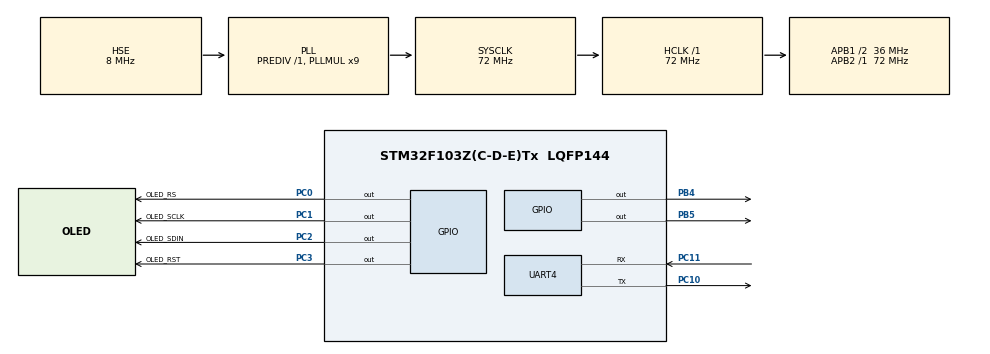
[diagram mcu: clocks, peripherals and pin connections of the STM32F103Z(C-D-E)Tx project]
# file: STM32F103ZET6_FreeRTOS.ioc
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FREERTOS.Queues01=Uart_Queue,10,uint8_t,0,Dynamic,NULL,NULL
FREERTOS.Tasks01=defaultTask,24,128,StartDefaultTask,As weak,NULL,Dynamic,NULL,NULL;LedTask,24,128,LedTaskDeal,Default,NULL,Dynamic,NULL,NULL;UartTask,40,128,UartTaskDeal,Default,NULL,Dynamic,NULL,NULL;OLEDTask,24,128,OLEDTaskDeal,Default,NULL,Dynamic,NULL,NULL
Mcu.Family=STM32F1
Mcu.Name=STM32F103Z(C-D-E)Tx
Mcu.Package=LQFP144
NVIC.PriorityGroup=NVIC_PRIORITYGROUP_4
NVIC.TIM6_IRQn=true\:0\:0\:true\:false\:true\:false\:false\:true\:true
NVIC.TimeBase=TIM6_IRQn
NVIC.TimeBaseIP=TIM6
NVIC.UART4_IRQn=true\:5\:0\:false\:false\:true\:true\:true\:true\:true
OSC_IN.Mode=HSE-External-Oscillator
OSC_IN.Signal=RCC_OSC_IN
OSC_OUT.Mode=HSE-External-Oscillator
OSC_OUT.Signal=RCC_OSC_OUT
PA13.Mode=Serial_Wire
PA13.Signal=SYS_JTMS-SWDIO
PA14.Mode=Serial_Wire
PA14.Signal=SYS_JTCK-SWCLK
PB4.Signal=GPIO_Output
PB5.Signal=GPIO_Output
PC0.GPIO_Label=OLED_RS
PC0.Signal=GPIO_Output
PC1.GPIO_Label=OLED_SCLK
PC1.Signal=GPIO_Output
PC10.Mode=Asynchronous
PC10.Signal=UART4_TX
PC11.Mode=Asynchronous
PC11.Signal=UART4_RX
PC2.GPIO_Label=OLED_SDIN
PC2.Signal=GPIO_Output
PC3.GPIO_Label=OLED_RST
PC3.Signal=GPIO_Output
ProjectManager.HeapSize=0x200
ProjectManager.StackSize=0x400
ProjectManager.TargetToolchain=STM32CubeIDE
RCC.AHBFreq_Value=72000000
RCC.APB1CLKDivider=RCC_HCLK_DIV2
RCC.APB1Freq_Value=36000000
RCC.APB1TimFreq_Value=72000000
RCC.APB2Freq_Value=72000000
RCC.APB2TimFreq_Value=72000000
RCC.HCLKFreq_Value=72000000
RCC.PLLMUL=RCC_PLL_MUL9
RCC.PLLSourceVirtual=RCC_PLLSOURCE_HSE
RCC.SYSCLKFreq_VALUE=72000000
RCC.SYSCLKSource=RCC_SYSCLKSOURCE_PLLCLK
RCC.USBFreq_Value=72000000
UART4.VirtualMode=Asynchronous
VP_FREERTOS_VS_CMSIS_V2.Mode=CMSIS_V2
VP_SYS_VS_tim6.Mode=TIM6
board=custom

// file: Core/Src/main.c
/* USER CODE BEGIN Header */
/**
  ******************************************************************************
  * @file           : main.c
  * @brief          : Main program body
  ******************************************************************************
  * @attention
  *
  * Copyright (c) 2025 STMicroelectronics.
  * All rights reserved.
  *
  * This software is licensed under terms that can be found in the LICENSE file
  * in the root directory of this software component.
  * If no LICENSE file comes with this software, it is provided AS-IS.
  *
  ******************************************************************************
  */
/* USER CODE END Header */
#include "main.h"
#include "cmsis_os.h"

/* USER CODE BEGIN Includes */
#include "oled.h"
#include "queue.h"
//#include "oledfont.h"
/* USER CODE END Includes */

UART_HandleTypeDef huart4;

/* Definitions for defaultTask */
osThreadId_t defaultTaskHandle;
const osThreadAttr_t defaultTask_attributes = {
  .name = "defaultTask",
  .stack_size = 128 * 4,
  .priority = (osPriority_t) osPriorityNormal,
};
/* Definitions for LedTask */
osThreadId_t LedTaskHandle;
const osThreadAttr_t LedTask_attributes = {
  .name = "LedTask",
  .stack_size = 128 * 4,
  .priority = (osPriority_t) osPriorityNormal,
};
/* Definitions for UartTask */
osThreadId_t UartTaskHandle;
const osThreadAttr_t UartTask_attributes = {
  .name = "UartTask",
  .stack_size = 128 * 4,
  .priority = (osPriority_t) osPriorityHigh,
};
/* Definitions for OLEDTask */
osThreadId_t OLEDTaskHandle;
const osThreadAttr_t OLEDTask_attributes = {
  .name = "OLEDTask",
  .stack_size = 128 * 4,
  .priority = (osPriority_t) osPriorityNormal,
};
/* Definitions for Uart_Queue */
osMessageQueueId_t Uart_QueueHandle;
const osMessageQueueAttr_t Uart_Queue_attributes = {
  .name = "Uart_Queue"
};

void SystemClock_Config(void);
static void MX_GPIO_Init(void);
static void MX_UART4_Init(void);
void StartDefaultTask(void *argument);
void LedTaskDeal(void *argument);
void UartTaskDeal(void *argument);
void OLEDTaskDeal(void *argument);

/* USER CODE BEGIN PFP */
int cnt1 = 0;
/* USER CODE END PFP */

/* USER CODE BEGIN 0 */
//PB5红灯交替闪烁
void user_test_led(void){
	//HAL_Delay(1000);
//	if(HAL_GPIO_ReadPin(GPIOE,GPIO_PIN_3)==GPIO_PIN_RESET){
		if(cnt1 == 1){
			cnt1 = 0;
			HAL_GPIO_WritePin(GPIOB, GPIO_PIN_5, 0);
			//HAL_GPIO_WritePin(GPIOE, GPIO_PIN_5, GPIO_PIN_SET);
		}else{
			cnt1++;
			HAL_GPIO_WritePin(GPIOB, GPIO_PIN_5, 1);
//			HAL_GPIO_WritePin(GPIOE, GPIO_PIN_5, GPIO_PIN_RESET);
		}
//	}
}

uint8_t user_cam[10];
//void HAL_UART_RxCpltCallback(UART_HandleTypeDef *huart){
//	HAL_UART_Transmit_IT(&huart4, user_cam, 2);
//	HAL_UART_Receive_IT(&huart4, user_cam, 2);
//}

//*串口中断
void HAL_UARTEx_RxEventCallback(UART_HandleTypeDef *huart, uint16_t Size){
	if(huart == &huart4){
		HAL_UART_Transmit_IT(&huart4, user_cam, Size);//*把数据返回给上位�?

		//*向消息队列发送一个消�?
		uint8_t flag = 1;
		BaseType_t err = xQueueSendToBackFromISR(Uart_QueueHandle,&flag,pdMS_TO_TICKS(50));
		if(err ==errQUEUE_FULL){
			xQueueReset(Uart_QueueHandle);
		}

		HAL_UARTEx_ReceiveToIdle_IT(&huart4, user_cam, 10);//*重新打开串口接收

	}

}
/* USER CODE END 0 */

int main(void)
{

  /* MCU Configuration--------------------------------------------------------*/

  /* Reset of all peripherals, Initializes the Flash interface and the Systick. */
  HAL_Init();

  /* Configure the system clock */
  SystemClock_Config();

  /* Initialize all configured peripherals */
  MX_GPIO_Init();
  MX_UART4_Init();

  /* Init scheduler */
  osKernelInitialize();

  /* Create the queue(s) */
  /* creation of Uart_Queue */
  Uart_QueueHandle = osMessageQueueNew (10, sizeof(uint8_t), &Uart_Queue_attributes);

  /* Create the thread(s) */
  /* creation of defaultTask */
  defaultTaskHandle = osThreadNew(StartDefaultTask, NULL, &defaultTask_attributes);

  /* creation of LedTask */
  LedTaskHandle = osThreadNew(LedTaskDeal, NULL, &LedTask_attributes);

  /* creation of UartTask */
  UartTaskHandle = osThreadNew(UartTaskDeal, NULL, &UartTask_attributes);

  /* creation of OLEDTask */
  OLEDTaskHandle = osThreadNew(OLEDTaskDeal, NULL, &OLEDTask_attributes);

  /* Start scheduler */
  osKernelStart();

  /* We should never get here as control is now taken by the scheduler */

  /* Infinite loop */
  while (1)
  {

    /* USER CODE BEGIN 3 */
//	  user_test_led();
  }
  /* USER CODE END 3 */
}

void SystemClock_Config(void)
{
  RCC_OscInitTypeDef RCC_OscInitStruct = {0};
  RCC_ClkInitTypeDef RCC_ClkInitStruct = {0};

  /** Initializes the RCC Oscillators according to the specified parameters
  * in the RCC_OscInitTypeDef structure.
  */
  RCC_OscInitStruct.OscillatorType = RCC_OSCILLATORTYPE_HSE;
  RCC_OscInitStruct.HSEState = RCC_HSE_ON;
  RCC_OscInitStruct.HSEPredivValue = RCC_HSE_PREDIV_DIV1;
  RCC_OscInitStruct.HSIState = RCC_HSI_ON;
  RCC_OscInitStruct.PLL.PLLState = RCC_PLL_ON;
  RCC_OscInitStruct.PLL.PLLSource = RCC_PLLSOURCE_HSE;
  RCC_OscInitStruct.PLL.PLLMUL = RCC_PLL_MUL9;
  if (HAL_RCC_OscConfig(&RCC_OscInitStruct) != HAL_OK)
  {
    Error_Handler();
  }

  /** Initializes the CPU, AHB and APB buses clocks
  */
  RCC_ClkInitStruct.ClockType = RCC_CLOCKTYPE_HCLK|RCC_CLOCKTYPE_SYSCLK
                              |RCC_CLOCKTYPE_PCLK1|RCC_CLOCKTYPE_PCLK2;
  RCC_ClkInitStruct.SYSCLKSource = RCC_SYSCLKSOURCE_PLLCLK;
  RCC_ClkInitStruct.AHBCLKDivider = RCC_SYSCLK_DIV1;
  RCC_ClkInitStruct.APB1CLKDivider = RCC_HCLK_DIV2;
  RCC_ClkInitStruct.APB2CLKDivider = RCC_HCLK_DIV1;

  if (HAL_RCC_ClockConfig(&RCC_ClkInitStruct, FLASH_LATENCY_2) != HAL_OK)
  {
    Error_Handler();
  }
}

static void MX_UART4_Init(void)
{

  huart4.Instance = UART4;
  huart4.Init.BaudRate = 115200;
  huart4.Init.WordLength = UART_WORDLENGTH_8B;
  huart4.Init.StopBits = UART_STOPBITS_1;
  huart4.Init.Parity = UART_PARITY_NONE;
  huart4.Init.Mode = UART_MODE_TX_RX;
  huart4.Init.HwFlowCtl = UART_HWCONTROL_NONE;
  huart4.Init.OverSampling = UART_OVERSAMPLING_16;
  if (HAL_UART_Init(&huart4) != HAL_OK)
  {
    Error_Handler();
  }

}

static void MX_GPIO_Init(void)
{
  GPIO_InitTypeDef GPIO_InitStruct = {0};

  /* GPIO Ports Clock Enable */
  __HAL_RCC_GPIOC_CLK_ENABLE();
  __HAL_RCC_GPIOA_CLK_ENABLE();
  __HAL_RCC_GPIOB_CLK_ENABLE();

  /*Configure GPIO pin Output Level */
  HAL_GPIO_WritePin(GPIOC, OLED_RS_Pin|OLED_SCLK_Pin|OLED_SDIN_Pin|OLED_RST_Pin, GPIO_PIN_RESET);

  /*Configure GPIO pin Output Level */
  HAL_GPIO_WritePin(GPIOB, GPIO_PIN_4|GPIO_PIN_5, GPIO_PIN_RESET);

  /*Configure GPIO pins : OLED_RS_Pin OLED_SCLK_Pin OLED_SDIN_Pin OLED_RST_Pin */
  GPIO_InitStruct.Pin = OLED_RS_Pin|OLED_SCLK_Pin|OLED_SDIN_Pin|OLED_RST_Pin;
  GPIO_InitStruct.Mode = GPIO_MODE_OUTPUT_PP;
  GPIO_InitStruct.Pull = GPIO_NOPULL;
  GPIO_InitStruct.Speed = GPIO_SPEED_FREQ_LOW;
  HAL_GPIO_Init(GPIOC, &GPIO_InitStruct);

  /*Configure GPIO pins : PB4 PB5 */
  GPIO_InitStruct.Pin = GPIO_PIN_4|GPIO_PIN_5;
  GPIO_InitStruct.Mode = GPIO_MODE_OUTPUT_PP;
  GPIO_InitStruct.Pull = GPIO_NOPULL;
  GPIO_InitStruct.Speed = GPIO_SPEED_FREQ_LOW;
  HAL_GPIO_Init(GPIOB, &GPIO_InitStruct);

}

__weak void StartDefaultTask(void *argument)
{
  /* USER CODE BEGIN 5 */
  /* Infinite loop */

  for(;;)
  {

    osDelay(100);

  }
  /* USER CODE END 5 */
}

void LedTaskDeal(void *argument)
{
  /* USER CODE BEGIN LedTaskDeal */
  /* Infinite loop */
	TickType_t pxPreviousWakeTime = xTaskGetTickCount();
  for(;;)
  {
//        osDelay(1000);
       user_test_led();
        vTaskDelayUntil(&pxPreviousWakeTime,pdMS_TO_TICKS(1000));//FreeRTOS周期性绝对延时
//        vTaskDelay(pdMS_TO_TICKS(1000));
  }
  /* USER CODE END LedTaskDeal */
}

void UartTaskDeal(void *argument)
{
  /* USER CODE BEGIN UartTaskDeal */
  /* Infinite loop */
  char user_data[] = "Uart task init ok";
  //HAL_UART_Receive_IT(&huart4, user_cam, 2);
  HAL_UARTEx_ReceiveToIdle_IT(&huart4, user_cam, 10);//启动串口接收
  HAL_UART_Transmit_IT(&huart4, user_data, 18);

  for(;;)
  {

    osDelay(1);
  }
  /* USER CODE END UartTaskDeal */
}

void OLEDTaskDeal(void *argument)
{
  /* USER CODE BEGIN OLEDTaskDeal */
  /* Infinite loop */
	int cnt = 0;
		OLED_Init();
		OLED_Clear();
		OLED_Display_On();
		OLED_ShowString(0,5,"OLED init ok");//显示字符
	  for(;;)
	  {
	//    osDelay(1000);
	//    user_test_led();
		uint8_t flag;
		if(xQueueReceive(Uart_QueueHandle,&flag,pdMS_TO_TICKS(50)) ==pdTRUE){
			OLED_ShowString(0,15,user_cam);//显示串口接收到的字符
			//OLED_ShowString(0,5,"TEST-AA");//显示字符
			continue;
		}
	    cnt = cnt + 2;
	    if(cnt > 99){
	    	cnt=0;
	    }
	    OLED_ShowNumber(30,30,cnt,2,16);//显示数字

	    osDelay(100);

	    OLED_Refresh_Gram();
	  }
  /* USER CODE END OLEDTaskDeal */
}

void HAL_TIM_PeriodElapsedCallback(TIM_HandleTypeDef *htim)
{
  if (htim->Instance == TIM6) {
    HAL_IncTick();
  }
}

void Error_Handler(void)
{
  __disable_irq();
  while (1)
  {
  }
}
